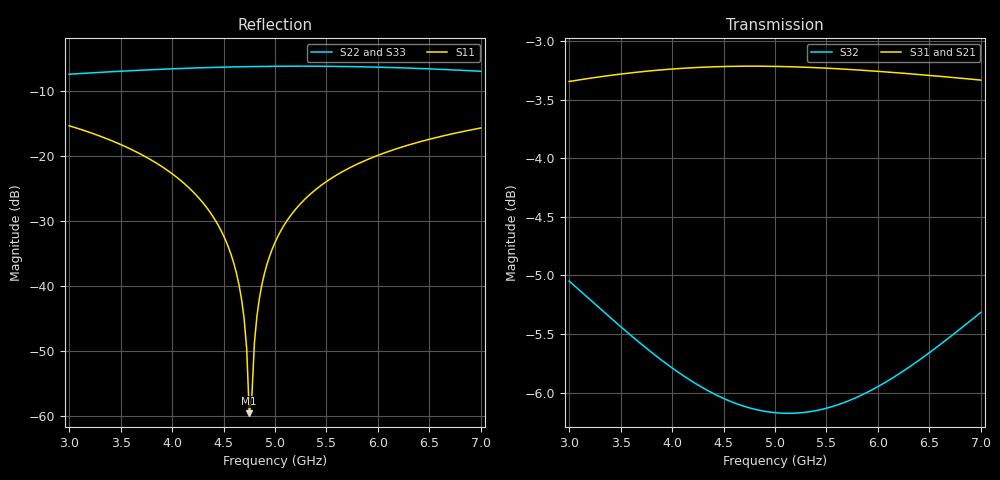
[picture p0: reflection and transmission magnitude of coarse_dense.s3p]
! yapnr rf: r1-osh-m-m-nom, footprint re-simulated (optimization grid)
! spec sha256 c78a055fdeea0098855e21ef95beb26403fe4553a80b5c85c466b745d02602b5
! 3 ports renormalized to 50 ohm, e^(+jwt) convention
# GHz S RI R 50
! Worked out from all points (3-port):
!   161 points, 3 GHz to 7 GHz, reference 50 ohm
!   strongest paths, dB at 3 GHz, 4 GHz, 5 GHz, 6 GHz, 7 GHz:
!     S31: -3.3, -3.2, -3.2, -3.3, -3.3
!     S21: -3.3, -3.2, -3.2, -3.3, -3.3
!     S32: -5.0, -5.8, -6.2, -5.9, -5.3
!   lowest |S11| = -59.6 dB at 4.75 GHz (marker M1), VSWR 1.00, Z = 50.1 + j0.0898 ohm
!   |S11| at or under -10 dB: start of sweep to end of sweep
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3  -0.0771 0.1521  0.0165 -0.6799  0.0165 -0.6799
   0.0166 -0.6801  -0.1603 0.3936  0.099 -0.5504
   0.0166 -0.6801  0.099 -0.5504  -0.1603 0.3936
3.875  -0.0132 0.0843  -0.2963 -0.6207  -0.2963 -0.6207
       -0.2962 -0.6209  0.0133 0.4629  -0.0814 -0.5119
       -0.2962 -0.6209  -0.0814 -0.5119  0.0133 0.4629
4.4  0.000978 0.0339  -0.4596 -0.5146  -0.4596 -0.5146
     -0.4596 -0.5149  0.1347 0.4601  -0.1659 -0.4725
     -0.4596 -0.5149  -0.1659 -0.4725  0.1347 0.4601
4.65  0.00141 0.0101  -0.5251 -0.4482  -0.5251 -0.4482
      -0.5251 -0.4485  0.192 0.445  -0.2016 -0.4524
      -0.5251 -0.4485  -0.2016 -0.4524  0.192 0.445
4.725  0.000808 0.00319  -0.5429 -0.4266  -0.5429 -0.4266
       -0.5429 -0.4269  0.2087 0.4388  -0.2119 -0.4464
       -0.5429 -0.4269  -0.2119 -0.4464  0.2087 0.4388
4.75  0.000536 0.000897  -0.5486 -0.4192  -0.5486 -0.4192
      -0.5486 -0.4195  0.2142 0.4366  -0.2153 -0.4443
      -0.5486 -0.4195  -0.2153 -0.4443  0.2142 0.4366
4.85  -0.000894 -0.00812  -0.5704 -0.3889  -0.5704 -0.3889
      -0.5704 -0.3893  0.2359 0.4268  -0.2287 -0.4362
      -0.5704 -0.3893  -0.2287 -0.4362  0.2359 0.4268
5  -0.00402 -0.0212  -0.5999 -0.3414  -0.5999 -0.3414
   -0.5999 -0.3418  0.2672 0.4096  -0.2486 -0.4239
   -0.5999 -0.3418  -0.2486 -0.4239  0.2672 0.4096
5.65  -0.0286 -0.0696  -0.6789 -0.1146  -0.6789 -0.1146
      -0.679 -0.1149  0.3787 0.3071  -0.3336 -0.367
      -0.679 -0.1149  -0.3336 -0.367  0.3787 0.3071
7  -0.1088 -0.1227  -0.5788 0.359  -0.5788 0.359
   -0.5791 0.3587  0.4459 0.0382  -0.5096 -0.1853
   -0.5791 0.3587  -0.5096 -0.1853  0.4459 0.0382
